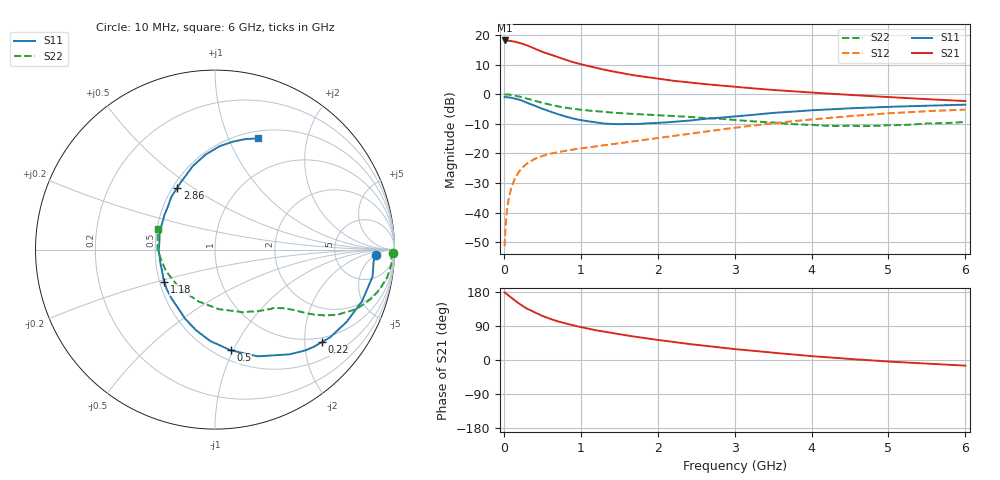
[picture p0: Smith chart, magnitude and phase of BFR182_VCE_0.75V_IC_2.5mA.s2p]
! Infineon Technologies  Discrete & RF Semiconductors
! BFR182
! VCE = 0.75 V,  IC =  2.5 mA
! Common Emitter S-Parameters:  Nov 2015
# GHz  S  MA  R  50
!  f  S11  S21  S12  S22
! GHz  MAG  ANG  MAG  ANG  MAG  ANG  MAG  ANG
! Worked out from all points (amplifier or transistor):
!   210 points, 10 MHz to 6 GHz, reference 50 ohm
!   highest |S21| = 18.1 dB at 10 MHz (marker M1)
!   |S21| within 3 dB of that: start of sweep to 424 MHz
!   unconditionally stable (mu >= 1): 1.291 GHz to 3.383 GHz
!   at 185 MHz: K = 0.21, MSG = 22.0 dB, |S12| = -26.7 dB
!   at 1.52 GHz: K = 1.06, MAG = 10.3 dB, |S12| = -16.5 dB
!   at 6 GHz: K = 0.95, MSG = 1.4 dB, |S12| = -5.2 dB
!   S11 on the Smith chart (normalised r, x): 10 MHz: 16, -5; 220 MHz: 0.88, -2.40; 500 MHz: 0.59, -0.98; 1.18 GHz: 0.53, -0.21; 2.86 GHz: 0.53, +0.44; 6 GHz: 0.58, +1.28
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0.01  0.895 -2.1  8.064 178.7  0.0027 89.7  0.9939 -1.0
0.035  0.8874 -6.9  8.029 174.3  0.0092 85.0  0.9845 -3.4
0.07  0.8787 -13.6  7.939 168.9  0.0187 80.7  0.9798 -6.5
0.1  0.868 -19.4  7.879 164.2  0.0265 78.6  0.9716 -9.2
0.15  0.837 -28.7  7.658 155.6  0.039 73.7  0.9425 -13.8
0.22  0.7873 -40.9  7.199 146.1  0.0531 67.6  0.8976 -18.7
0.26  0.7538 -48.2  6.958 140.5  0.0604 64.5  0.8694 -21.4
0.3  0.716 -54.6  6.672 135.5  0.0671 61.8  0.8397 -23.7
0.4  0.6403 -68.2  5.892 125.8  0.0802 56.2  0.7711 -28.1
0.5  0.568 -81.1  5.185 116.3  0.09 52.8  0.7121 -31.0
0.6  0.5094 -93.1  4.693 108.6  0.0983 50.2  0.6622 -33.2
0.7  0.4612 -103.3  4.237 102.1  0.1039 48.7  0.621 -34.8
0.8  0.4202 -113.2  3.81 96.5  0.1104 47.7  0.5888 -36.0
1.02  0.3604 -133.3  3.155 86.1  0.1219 47.1  0.542 -38.1
1.18  0.3349 -147.7  2.816 79.3  0.1301 47.4  0.5166 -39.7
1.6  0.3137 -178.9  2.181 64.6  0.1539 49.5  0.4695 -43.8
2.02  0.3275 155.2  1.807 52.5  0.183 50.7  0.4407 -49.6
2.86  0.4044 121.3  1.384 32.0  0.2561 49.6  0.3797 -66.6
3.1  0.4302 114.5  1.296 27.0  0.28 48.0  0.3573 -73.2
4.1  0.5409 93.7  1.044 8.8  0.3839 39.1  0.2967 -112.6
5.1  0.6153 79.3  0.877 -5.2  0.4825 26.7  0.299 -161.3
6  0.6631 69.0  0.763 -14.9  0.547 13.4  0.3394 159.8
